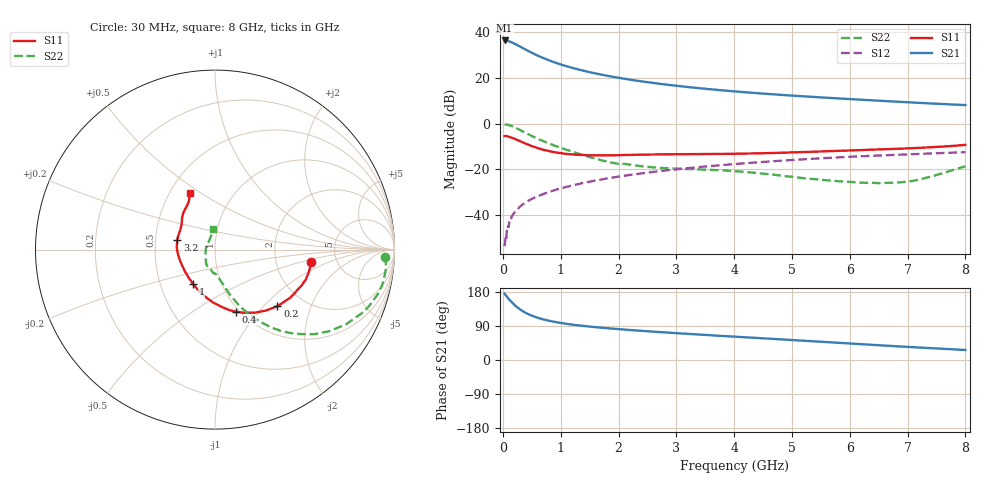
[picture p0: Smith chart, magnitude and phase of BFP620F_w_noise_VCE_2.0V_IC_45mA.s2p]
! Infineon Technologies  Discrete & RF Semiconductors
! BFP620F
! VCE =  2.0 V,  IC =  45 mA
! Common Emitter S-Parameters:  Dec 2014
# GHz  S  MA  R  50
!  f  S11  S21  S12  S22
! GHz  MAG  ANG  MAG  ANG  MAG  ANG  MAG  ANG
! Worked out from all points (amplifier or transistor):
!   95 points, 30 MHz to 8 GHz, reference 50 ohm
!   highest |S21| = 36.4 dB at 30 MHz (marker M1)
!   |S21| within 3 dB of that: start of sweep to 321.2 MHz
!   unconditionally stable (mu >= 1): 2.013 GHz to end of sweep
!   at 300 MHz: K = 0.47, MSG = 34.9 dB, |S12| = -36.1 dB
!   at 3.3 GHz: K = 1.03, MAG = 16.4 dB, |S12| = -19.2 dB
!   at 8 GHz: K = 1.05, MAG = 8.9 dB, |S12| = -12.5 dB
!   lowest NFmin = 1.45 dB at 450 MHz
!   S11 on the Smith chart (normalised r, x): 30 MHz: 3.20, -0.60; 200 MHz: 1.49, -1.20; 400 MHz: 0.96, -0.77; 1 GHz: 0.73, -0.30; 3.2 GHz: 0.65, +0.07; 8 GHz: 0.63, +0.45
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0.03  0.5372 -7.1  66.32 174.8  0.0021 108.0  0.9467 -2.4
0.07  0.5344 -16.1  65.66 167.0  0.0049 82.9  0.9544 -10.0
0.11  0.5152 -24.7  63.34 159.6  0.0069 75.9  0.9318 -16.7
0.15  0.497 -32.8  60.61 153.0  0.0093 77.6  0.8954 -23.0
0.2  0.47 -42.2  56.57 145.5  0.0114 76.1  0.8405 -29.7
0.25  0.4412 -50.5  52.55 138.9  0.0132 74.3  0.7826 -35.5
0.3  0.4143 -58.1  48.6 133.2  0.0156 72.5  0.726 -40.5
0.35  0.3879 -65.1  44.8 128.4  0.0174 70.7  0.6717 -44.5
0.4  0.3643 -71.7  41.48 124.0  0.0193 69.3  0.6224 -48.2
0.5  0.3245 -82.5  35.66 117.1  0.0227 68.9  0.5399 -53.9
0.6  0.2936 -92.5  31.02 111.5  0.0259 68.9  0.4707 -58.2
0.7  0.2697 -100.9  27.33 107.1  0.029 68.9  0.4157 -61.8
0.8  0.2524 -108.9  24.33 103.5  0.0322 69.0  0.3693 -64.6
1  0.2277 -122.6  19.86 97.8  0.0385 68.5  0.298 -69.1
1.4  0.2069 -144.4  14.39 89.8  0.0511 67.9  0.2039 -76.4
1.9  0.204 -164.1  10.65 82.7  0.0666 66.2  0.1396 -87.0
2.7  0.2133 175.5  7.521 73.8  0.0917 62.3  0.1091 -105.7
3.2  0.2162 165.9  6.356 69.0  0.1069 59.7  0.1019 -113.7
4.1  0.2215 151.9  4.992 60.7  0.134 54.3  0.0901 -123.2
5.4  0.2451 138.7  3.839 49.1  0.1725 45.6  0.0614 -149.2
6.7  0.2797 126.7  3.093 37.3  0.2066 36.3  0.051 153.8
8  0.3445 114.3  2.561 26.4  0.2384 27.3  0.1172 95.0
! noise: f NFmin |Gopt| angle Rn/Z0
0.45  1.45  0.18  -172  0.16
0.9  1.48  0.18  -172  0.14
1.5  1.49  0.23  -153  0.1
1.8  1.5  0.23  -152  0.1
1.9  1.5  0.23  -151  0.11
2.4  1.52  0.24  213  0.12
3.5  1.58  0.24  220  0.15
5.5  1.72  0.29  248  0.19
6  1.76  0.29  261  0.24
